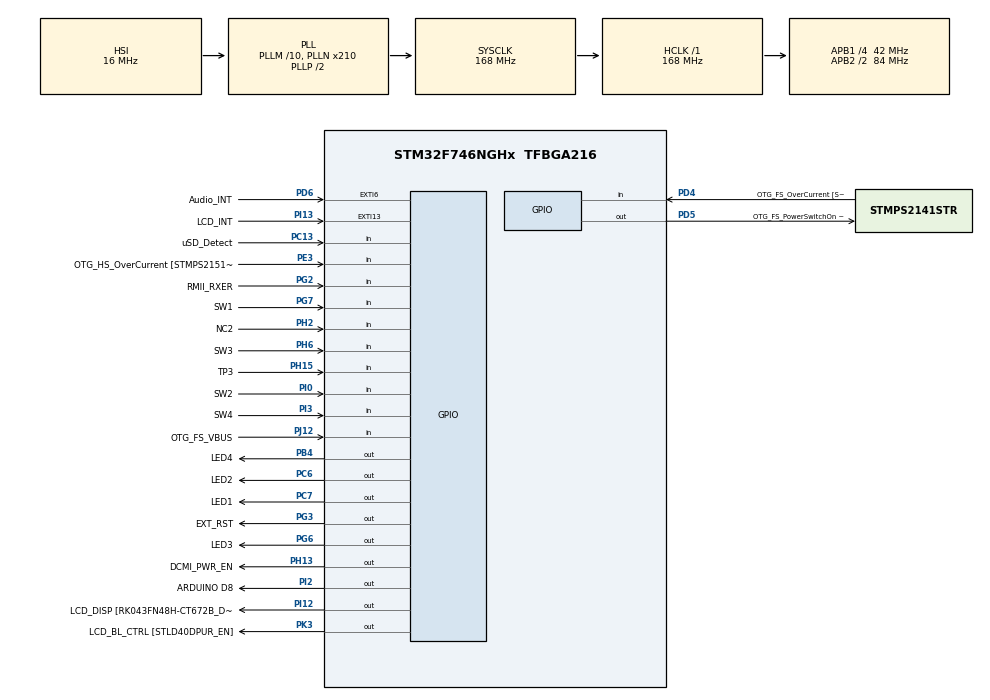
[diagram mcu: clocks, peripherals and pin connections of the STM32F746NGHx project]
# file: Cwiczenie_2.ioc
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Mcu.Family=STM32F7
Mcu.Name=STM32F746NGHx
Mcu.Package=TFBGA216
NVIC.PriorityGroup=NVIC_PRIORITYGROUP_4
PA0/WKUP.GPIO_Label=ARDUINO A0
PA0/WKUP.GPIO_Mode=GPIO_MODE_ANALOG
PA0/WKUP.GPIO_PuPd=GPIO_NOPULL
PA0/WKUP.Signal=ADCx_IN0
PA1.GPIO_Label=RMII_REF_CLK [LAN8742A-CZ-TR_REFCLK0]
PA1.Signal=ETH_REF_CLK
PA10.GPIO_Label=OTG_FS_ID
PA10.Signal=USB_OTG_FS_ID
PA11.GPIO_Label=OTG_FS_N
PA11.Signal=USB_OTG_FS_DM
PA12.GPIO_Label=OTG_FS_P
PA12.Signal=USB_OTG_FS_DP
PA13.GPIO_Label=SWDIO
PA13.Signal=SYS_JTMS-SWDIO
PA14.GPIO_Label=SWCLK
PA14.Signal=SYS_JTCK-SWCLK
PA15.GPIO_Label=ARDUINO PWM/D9
PA15.GPIO_ModeDefaultPP=GPIO_MODE_AF_PP
PA15.GPIO_PuPd=GPIO_NOPULL
PA15.GPIO_Speed=GPIO_SPEED_FREQ_LOW
PA15.Signal=S_TIM2_CH1_ETR
PA2.GPIO_Label=RMII_MDIO [LAN8742A-CZ-TR_MDIO]
PA2.Signal=ETH_MDIO
PA3.GPIO_Label=ULPI_D0 [USB3320C-EZK_D0]
PA3.Signal=USB_OTG_HS_ULPI_D0
PA4.GPIO_Label=DCMI_HSYNC
PA4.Signal=DCMI_HSYNC
PA5.GPIO_Label=ULPI_CLK [USB3320C-EZK_CLKOUT]
PA5.Signal=USB_OTG_HS_ULPI_CK
PA6.Signal=DCMI_PIXCLK
PA7.GPIO_Label=RMII_CRS_DV [LAN8742A-CZ-TR_CRS_DV]
PA7.Signal=ETH_CRS_DV
PA9.GPIO_Label=VCP_TX [STM32F103CBT6_PA3]
PA9.GPIO_Mode=GPIO_MODE_AF_PP
PA9.GPIO_PuPd=GPIO_NOPULL
PA9.GPIO_Speed=GPIO_SPEED_FREQ_LOW
PA9.Signal=USART1_TX
PB0.GPIO_Label=ULPI_D1 [USB3320C-EZK_D1]
PB0.Signal=USB_OTG_HS_ULPI_D1
PB1.GPIO_Label=ULPI_D2 [USB3320C-EZK_D2]
PB1.Signal=USB_OTG_HS_ULPI_D2
PB10.GPIO_Label=ULPI_D3 [USB3320C-EZK_D3]
PB10.Signal=USB_OTG_HS_ULPI_D3
PB11.GPIO_Label=ULPI_D4 [USB3320C-EZK_D4]
PB11.Signal=USB_OTG_HS_ULPI_D4
PB12.GPIO_Label=ULPI_D5 [USB3320C-EZK_D5]
PB12.Signal=USB_OTG_HS_ULPI_D5
PB13.GPIO_Label=ULPI_D6 [USB3320C-EZK_D6]
PB13.Signal=USB_OTG_HS_ULPI_D6
PB14.GPIO_Label=ARDUINO MISO/D12
PB14.GPIO_Mode=GPIO_MODE_AF_PP
PB14.GPIO_PuPd=GPIO_NOPULL
PB14.GPIO_Speed=GPIO_SPEED_FREQ_LOW
PB14.Signal=SPI2_MISO
PB15.GPIO_Label=ARDUINO MOSI/PWM/D11
PB15.GPIO_Mode=GPIO_MODE_AF_PP
PB15.GPIO_PuPd=GPIO_NOPULL
PB15.GPIO_Speed=GPIO_SPEED_FREQ_LOW
PB15.Signal=SPI2_MOSI
PB2.Signal=QUADSPI_CLK
PB3.GPIO_Label=SWO
PB3.Signal=SYS_JTDO-SWO
PB4.GPIO_Label=LED4
PB4.Signal=GPIO_Output
PB5.GPIO_Label=ULPI_D7 [USB3320C-EZK_D7]
PB5.Signal=USB_OTG_HS_ULPI_D7
PB6.GPIO_Label=QSPI_NCS [N25Q128A13EF840E_S]
PB6.Signal=QUADSPI_BK1_NCS
PB7.GPIO_Label=VCP_RX [STM32F103CBT6_PA2]
PB7.GPIO_Mode=GPIO_MODE_AF_PP
PB7.GPIO_PuPd=GPIO_NOPULL
PB7.GPIO_Speed=GPIO_SPEED_FREQ_LOW
PB7.Signal=USART1_RX
PB8.GPIO_Label=ARDUINO SCL/D15
PB8.GPIO_Mode=GPIO_MODE_AF_OD
PB8.GPIO_PuPd=GPIO_NOPULL
PB8.GPIO_Speed=GPIO_SPEED_FREQ_LOW
PB8.Signal=I2C1_SCL
PB9.GPIO_Label=ARDUINO SDA/D14
PB9.GPIO_Mode=GPIO_MODE_AF_OD
PB9.GPIO_PuPd=GPIO_NOPULL
PB9.GPIO_Speed=GPIO_SPEED_FREQ_LOW
PB9.Signal=I2C1_SDA
PC0.GPIO_Label=ULPI_STP [USB3320C-EZK_STP]
PC0.Signal=USB_OTG_HS_ULPI_STP
PC1.GPIO_Label=RMII_MDC [LAN8742A-CZ-TR_MDC]
PC1.Signal=ETH_MDC
PC10.GPIO_Label=SDMMC_D2
PC10.Signal=SDMMC1_D2
PC11.GPIO_Label=SDMMC_D3
PC11.Signal=SDMMC1_D3
PC12.GPIO_Label=SDMMC_CK
PC12.Signal=SDMMC1_CK
PC13.GPIO_Label=uSD_Detect
PC13.Signal=GPIO_Input
PC14/OSC32_IN.GPIO_Label=RCC_OSC32_IN
PC14/OSC32_IN.Signal=RCC_OSC32_IN
PC15/OSC32_OUT.GPIO_Label=RCC_OSC32_OUT
PC15/OSC32_OUT.Signal=RCC_OSC32_OUT
PC2.GPIO_Label=ULPI_DIR [USB3320C-EZK_DIR]
PC2.Signal=USB_OTG_HS_ULPI_DIR
PC3.GPIO_Label=FMC_SDCKE0 [MT48LC4M32B2B5-6A_CKE]
PC3.Signal=FMC_SDCKE0
PC4.GPIO_Label=RMII_RXD0 [LAN8742A-CZ-TR_RXD0]
PC4.Signal=ETH_RXD0
PC5.GPIO_Label=RMII_RXD1 [LAN8742A-CZ-TR_RXD1]
PC5.Signal=ETH_RXD1
PC6.GPIO_Label=LED2
PC6.Signal=GPIO_Output
PC7.GPIO_Label=LED1
PC7.Signal=GPIO_Output
PC8.Signal=SDMMC1_D0
PC9.Signal=SDMMC1_D1
PD0.GPIO_Label=FMC_D2 [MT48LC4M32B2B5-6A_DQ2]
PD0.Signal=FMC_D2_DA2
PD1.GPIO_Label=FMC_D3 [MT48LC4M32B2B5-6A_DQ3]
PD1.Signal=FMC_D3_DA3
PD10.GPIO_Label=FMC_D15 [MT48LC4M32B2B5-6A_DQ15]
PD10.Signal=FMC_D15_DA15
PD11.GPIO_Label=QSPI_D0 [N25Q128A13EF840E_DQ0]
PD11.Signal=QUADSPI_BK1_IO0
PD12.GPIO_Label=QSPI_D1 [N25Q128A13EF840E_DQ1]
PD12.Signal=QUADSPI_BK1_IO1
PD13.GPIO_Label=QSPI_D3 [N25Q128A13EF840E_DQ3]
PD13.Signal=QUADSPI_BK1_IO3
PD14.GPIO_Label=FMC_D0 [MT48LC4M32B2B5-6A_DQ0]
PD14.Signal=FMC_D0_DA0
PD15.GPIO_Label=FMC_D1 [MT48LC4M32B2B5-6A_DQ1]
PD15.Signal=FMC_D1_DA1
PD2.GPIO_Label=SDMMC_D0
PD2.Signal=SDMMC1_CMD
PD3.GPIO_Label=DCMI_D5
PD3.Signal=DCMI_D5
PD4.GPIO_Label=OTG_FS_OverCurrent [STMPS2141STR_Fault]
PD4.Signal=GPIO_Input
PD5.GPIO_Label=OTG_FS_PowerSwitchOn [STMPS2141STR_EN]
PD5.PinState=GPIO_PIN_SET
PD5.Signal=GPIO_Output
PD6.GPIO_Label=Audio_INT
PD6.GPIO_ModeDefaultEXTI=GPIO_MODE_EVT_RISING
PD6.Signal=GPXTI6
PD7.GPIO_Label=SPDIF_RX0 [74LVC1G04SE_4]
PD7.Signal=SPDIFRX_IN0
PD8.GPIO_Label=FMC_D13 [MT48LC4M32B2B5-6A_DQ13]
PD8.Signal=FMC_D13_DA13
PD9.GPIO_Label=FMC_D14 [MT48LC4M32B2B5-6A_DQ14]
PD9.Signal=FMC_D14_DA14
PE0.GPIO_Label=FMC_NBL0 [MT48LC4M32B2B5-6A_DQM0]
PE0.Signal=FMC_NBL0
PE1.GPIO_Label=FMC_NBL1 [MT48LC4M32B2B5-6A_DQM1]
PE1.Signal=FMC_NBL1
PE10.GPIO_Label=FMC_D7 [MT48LC4M32B2B5-6A_DQ7]
PE10.Signal=FMC_D7_DA7
PE11.GPIO_Label=FMC_D8 [MT48LC4M32B2B5-6A_DQ8]
PE11.Signal=FMC_D8_DA8
PE12.GPIO_Label=FMC_D9 [MT48LC4M32B2B5-6A_DQ9]
PE12.Signal=FMC_D9_DA9
PE13.GPIO_Label=FMC_D10 [MT48LC4M32B2B5-6A_DQ10]
PE13.Signal=FMC_D10_DA10
PE14.GPIO_Label=FMC_D11 [MT48LC4M32B2B5-6A_DQ11]
PE14.Signal=FMC_D11_DA11
PE15.GPIO_Label=FMC_D12 [MT48LC4M32B2B5-6A_DQ12]
PE15.Signal=FMC_D12_DA12
PE2.GPIO_Label=QSPI_D2 [N25Q128A13EF840E_DQ2]
PE2.Signal=QUADSPI_BK1_IO2
PE3.GPIO_Label=OTG_HS_OverCurrent [STMPS2151STR_FAULT]
PE3.Signal=GPIO_Input
PE4.GPIO_Label=LCD_B0 [RK043FN48H-CT672B_B0]
PE4.Signal=LTDC_B0
PE5.GPIO_Label=DCMI_D6
PE5.Signal=DCMI_D6
PE6.GPIO_Label=DCMI_D7
PE6.Signal=DCMI_D7
PE7.GPIO_Label=FMC_D4 [MT48LC4M32B2B5-6A_DQ4]
PE7.Signal=FMC_D4_DA4
PE8.GPIO_Label=FMC_D5 [MT48LC4M32B2B5-6A_DQ5]
PE8.Signal=FMC_D5_DA5
PE9.GPIO_Label=FMC_D6 [MT48LC4M32B2B5-6A_DQ6]
PE9.Signal=FMC_D6_DA6
PF0.GPIO_Label=FMC_A0 [MT48LC4M32B2B5-6A_A0]
PF0.Signal=FMC_A0
PF1.GPIO_Label=FMC_A1 [MT48LC4M32B2B5-6A_A1]
PF1.Signal=FMC_A1
PF10.GPIO_Label=ARDUINO A1
PF10.GPIO_Mode=GPIO_MODE_ANALOG
PF10.GPIO_PuPd=GPIO_NOPULL
PF10.Signal=ADC3_IN8
PF11.GPIO_Label=FMC_SDNRAS [MT48LC4M32B2B5-6A_RAS]
PF11.Signal=FMC_SDNRAS
PF12.GPIO_Label=FMC_A6 [MT48LC4M32B2B5-6A_A6]
PF12.Signal=FMC_A6
PF13.GPIO_Label=FMC_A7 [MT48LC4M32B2B5-6A_A7]
PF13.Signal=FMC_A7
PF14.GPIO_Label=FMC_A8 [MT48LC4M32B2B5-6A_A8]
PF14.Signal=FMC_A8
PF15.GPIO_Label=FMC_A9 [MT48LC4M32B2B5-6A_A9]
PF15.Signal=FMC_A9
PF2.GPIO_Label=FMC_A2 [MT48LC4M32B2B5-6A_A2]
PF2.Signal=FMC_A2
PF3.GPIO_Label=FMC_A3 [MT48LC4M32B2B5-6A_A3]
PF3.Signal=FMC_A3
PF4.GPIO_Label=FMC_A4 [MT48LC4M32B2B5-6A_A4]
PF4.Signal=FMC_A4
PF5.GPIO_Label=FMC_A5 [MT48LC4M32B2B5-6A_A5]
PF5.Signal=FMC_A5
PF6.GPIO_Label=ARDUINO A5
PF6.GPIO_Mode=GPIO_MODE_ANALOG
PF6.GPIO_PuPd=GPIO_NOPULL
PF6.Signal=ADC3_IN4
PF7.GPIO_Label=ARDUINO A4
PF7.GPIO_Mode=GPIO_MODE_ANALOG
PF7.GPIO_PuPd=GPIO_NOPULL
PF7.Signal=ADC3_IN5
PF8.GPIO_Label=ARDUINO A3
PF8.GPIO_Mode=GPIO_MODE_ANALOG
PF8.GPIO_PuPd=GPIO_NOPULL
PF8.Signal=ADC3_IN6
PF9.GPIO_Label=ARDUINO A2
PF9.GPIO_Mode=GPIO_MODE_ANALOG
PF9.GPIO_PuPd=GPIO_NOPULL
PF9.Signal=ADC3_IN7
PG0.GPIO_Label=FMC_A10 [MT48LC4M32B2B5-6A_A10]
PG0.Signal=FMC_A10
PG1.GPIO_Label=FMC_A11 [MT48LC4M32B2B5-6A_A11]
PG1.Signal=FMC_A11
PG10.GPIO_Label=SAI2_SDB [WM8994ECS/R_ADCDAT1]
PG10.Signal=SAI2_SD_B
PG11.GPIO_Label=RMII_TX_EN [LAN8742A-CZ-TR_TXEN]
PG11.Signal=ETH_TX_EN
PG12.GPIO_Label=LCD_B4 [RK043FN48H-CT672B_B4]
PG12.Signal=LTDC_B4
PG13.GPIO_Label=RMII_TXD0 [LAN8742A-CZ-TR_TXD0]
PG13.Signal=ETH_TXD0
PG14.GPIO_Label=RMII_TXD1 [LAN8742A-CZ-TR_TXD1]
PG14.Signal=ETH_TXD1
PG15.GPIO_Label=FMC_SDNCAS [MT48LC4M32B2B5-6A_CAS]
PG15.Signal=FMC_SDNCAS
PG2.GPIO_Label=RMII_RXER
PG2.Signal=GPIO_Input
PG3.GPIO_Label=EXT_RST
PG3.Signal=GPIO_Output
PG4.GPIO_Label=FMC_BA0 [MT48LC4M32B2B5-6A_BA0]
PG4.Signal=FMC_A14_BA0
PG5.GPIO_Label=FMC_BA1 [MT48LC4M32B2B5-6A_BA1]
PG5.Signal=FMC_A15_BA1
PG6.GPIO_Label=LED3
PG6.Signal=GPIO_Output
PG7.GPIO_Label=SW1
PG7.GPIO_Mode=GPIO_MODE_INPUT
PG7.GPIO_PuPd=GPIO_PULLUP
PG7.Signal=GPIO_Input
PG8.GPIO_Label=FMC_SDCLK [MT48LC4M32B2B5-6A_CLK]
PG8.Signal=FMC_SDCLK
PG9.GPIO_Label=DCMI_VSYNC
PG9.Signal=DCMI_VSYNC
PH0/OSC_IN.GPIO_Label=OSC_25M [NZ2520SB-25.00M_OUT]
PH0/OSC_IN.Signal=RCC_OSC_IN
PH1/OSC_OUT.Signal=RCC_OSC_OUT
PH10.GPIO_Label=DCMI_D1
PH10.Signal=DCMI_D1
PH11.GPIO_Label=DCMI_D2
PH11.Signal=DCMI_D2
PH12.GPIO_Label=DCMI_D3
PH12.Signal=DCMI_D3
PH13.GPIO_Label=DCMI_PWR_EN
PH13.Signal=GPIO_Output
PH14.GPIO_Label=DCMI_D4
PH14.Signal=DCMI_D4
PH15.GPIO_Label=TP3
PH15.Signal=GPIO_Input
PH2.GPIO_Label=NC2
PH2.Signal=GPIO_Input
PH3.GPIO_Label=FMC_SDNE0 [MT48LC4M32B2B5-6A_CS]
PH3.Signal=FMC_SDNE0
PH4.GPIO_Label=ULPI_NXT [USB3320C-EZK_NXT]
PH4.Signal=USB_OTG_HS_ULPI_NXT
PH5.GPIO_Label=FMC_SDNME [MT48LC4M32B2B5-6A_WE]
PH5.Signal=FMC_SDNWE
PH6.GPIO_Label=SW3
PH6.GPIO_Mode=GPIO_MODE_INPUT
PH6.GPIO_PuPd=GPIO_PULLUP
PH6.Signal=GPIO_Input
PH7.GPIO_Label=LCD_SCL [RK043FN48H-CT672B_SCL]
PH7.Signal=I2C3_SCL
PH8.GPIO_Label=LCD_SDA [RK043FN48H-CT672B_SDA]
PH8.Signal=I2C3_SDA
PH9.GPIO_Label=DCMI_D0
PH9.Signal=DCMI_D0
PI0.GPIO_Label=SW2
PI0.GPIO_PuPd=GPIO_PULLUP
PI0.Signal=GPIO_Input
PI1.GPIO_Label=ARDUINO SCK/D13
PI1.GPIO_Mode=GPIO_MODE_AF_PP
PI1.GPIO_PuPd=GPIO_NOPULL
PI1.GPIO_Speed=GPIO_SPEED_FREQ_LOW
PI1.Signal=SPI2_SCK
PI10.GPIO_Label=LCD_HSYNC [RK043FN48H-CT672B_HSYNC]
PI10.Signal=LTDC_HSYNC
PI12.GPIO_Label=LCD_DISP [RK043FN48H-CT672B_DISP] 
PI12.Signal=GPIO_Output
PI13.GPIO_Label=LCD_INT
PI13.GPIO_ModeDefaultEXTI=GPIO_MODE_EVT_RISING
PI13.Signal=GPXTI13
PI14.GPIO_Label=LCD_CLK [RK043FN48H-CT672B_CLK]
PI14.Signal=LTDC_CLK
PI15.GPIO_Label=LCD_R0 [RK043FN48H-CT672B_R0]
PI15.Signal=LTDC_R0
PI2.GPIO_Label=ARDUINO D8
PI2.Signal=GPIO_Output
PI3.GPIO_Label=SW4
PI3.GPIO_Mode=GPIO_MODE_INPUT
PI3.GPIO_PuPd=GPIO_PULLUP
PI3.Signal=GPIO_Input
PI4.GPIO_Label=SAI2_MCLKA [WM8994ECS/R_MCLK1]
PI4.Signal=SAI2_MCLK_A
PI5.GPIO_Label=SAI2_SCKA [WM8994ECS/R_BCLK1]
PI5.Signal=SAI2_SCK_A
PI6.GPIO_Label=SAI2_SDA [WM8994ECS/R_DACDAT1]
PI6.Signal=SAI2_SD_A
PI7.GPIO_Label=SAI2_FSA [WM8994ECS/R_LRCLK1]
PI7.Signal=SAI2_FS_A
PI8.GPIO_Label=NC1 [TP2]
PI8.Signal=RTC_TS
PI9.GPIO_Label=LCD_VSYNC [RK043FN48H-CT672B_VSYNC]
PI9.Signal=LTDC_VSYNC
PJ0.GPIO_Label=LCD_R1 [RK043FN48H-CT672B_R1]
PJ0.Signal=LTDC_R1
PJ1.GPIO_Label=LCD_R2 [RK043FN48H-CT672B_R2]
PJ1.Signal=LTDC_R2
PJ10.GPIO_Label=LCD_G3 [RK043FN48H-CT672B_G3]
PJ10.Signal=LTDC_G3
PJ11.GPIO_Label=LCD_G4 [RK043FN48H-CT672B_G4]
PJ11.Signal=LTDC_G4
PJ12.GPIO_Label=OTG_FS_VBUS
PJ12.Signal=GPIO_Input
PJ13.GPIO_Label=LCD_B1 [RK043FN48H-CT672B_B1]
PJ13.Signal=LTDC_B1
PJ14.GPIO_Label=LCD_B2 [RK043FN48H-CT672B_B2]
PJ14.Signal=LTDC_B2
PJ15.GPIO_Label=LCD_B3 [RK043FN48H-CT672B_B3]
PJ15.Signal=LTDC_B3
PJ2.GPIO_Label=LCD_R3 [RK043FN48H-CT672B_R3]
PJ2.Signal=LTDC_R3
PJ3.GPIO_Label=LCD_R4 [RK043FN48H-CT672B_R4]
PJ3.Signal=LTDC_R4
PJ4.GPIO_Label=LCD_R5 [RK043FN48H-CT672B_R5]
PJ4.Signal=LTDC_R5
PJ5.GPIO_Label=LCD_R6 [RK043FN48H-CT672B_R6]
PJ5.Signal=LTDC_R6
PJ6.GPIO_Label=LCD_R7 [RK043FN48H-CT672B_R7]
PJ6.Signal=LTDC_R7
PJ7.GPIO_Label=LCD_G0 [RK043FN48H-CT672B_G0]
PJ7.Signal=LTDC_G0
PJ8.GPIO_Label=LCD_G1 [RK043FN48H-CT672B_G1]
PJ8.Signal=LTDC_G1
PJ9.GPIO_Label=LCD_G2 [RK043FN48H-CT672B_G2]
PJ9.Signal=LTDC_G2
PK0.GPIO_Label=LCD_G5 [RK043FN48H-CT672B_G5]
PK0.Signal=LTDC_G5
PK1.GPIO_Label=LCD_G6 [RK043FN48H-CT672B_G6]
PK1.Signal=LTDC_G6
PK2.GPIO_Label=LCD_G7 [RK043FN48H-CT672B_G7]
PK2.Signal=LTDC_G7
PK3.GPIO_Label=LCD_BL_CTRL [STLD40DPUR_EN]
PK3.Signal=GPIO_Output
PK4.GPIO_Label=LCD_B5 [RK043FN48H-CT672B_B5]
PK4.Signal=LTDC_B5
PK5.GPIO_Label=LCD_B6 [RK043FN48H-CT672B_B6]
PK5.Signal=LTDC_B6
PK6.GPIO_Label=LCD_B7 [RK043FN48H-CT672B_B7]
PK6.Signal=LTDC_B7
PK7.GPIO_Label=LCD_DE [RK043FN48H-CT672B_DE]
PK7.Signal=LTDC_DE
ProjectManager.HeapSize=0x200
ProjectManager.StackSize=0x400
ProjectManager.TargetToolchain=STM32CubeIDE
RCC.AHBFreq_Value=168000000
RCC.APB1CLKDivider=RCC_HCLK_DIV4
RCC.APB1Freq_Value=42000000
RCC.APB1TimFreq_Value=84000000
RCC.APB2CLKDivider=RCC_HCLK_DIV2
RCC.APB2Freq_Value=84000000
RCC.APB2TimFreq_Value=168000000
RCC.CortexFreq_Value=168000000
RCC.HCLKFreq_Value=168000000
RCC.HSE_VALUE=25000000
RCC.HSI_VALUE=16000000
RCC.LSE_VALUE=32768
RCC.PLLM=10
RCC.PLLN=210
RCC.PLLSourceVirtual=RCC_PLLSOURCE_HSI
RCC.SYSCLKFreq_VALUE=168000000
RCC.SYSCLKSource=RCC_SYSCLKSOURCE_PLLCLK
RCC.USBFreq_Value=168000000
RCC.VCOOutputFreq_Value=336000000
SH.ADCx_IN0.0=ADC3_IN0
SH.FMC_A0.0=FMC_A0
SH.FMC_A1.0=FMC_A1
SH.FMC_A10.0=FMC_A10
SH.FMC_A11.0=FMC_A11
SH.FMC_A14_BA0.0=FMC_BA0
SH.FMC_A15_BA1.0=FMC_BA1
SH.FMC_A2.0=FMC_A2
SH.FMC_A3.0=FMC_A3
SH.FMC_A4.0=FMC_A4
SH.FMC_A5.0=FMC_A5
SH.FMC_A6.0=FMC_A6
SH.FMC_A7.0=FMC_A7
SH.FMC_A8.0=FMC_A8
SH.FMC_A9.0=FMC_A9
SH.FMC_D0_DA0.0=FMC_D0
SH.FMC_D10_DA10.0=FMC_D10
SH.FMC_D11_DA11.0=FMC_D11
SH.FMC_D12_DA12.0=FMC_D12
SH.FMC_D13_DA13.0=FMC_D13
SH.FMC_D14_DA14.0=FMC_D14
SH.FMC_D15_DA15.0=FMC_D15
SH.FMC_D1_DA1.0=FMC_D1
SH.FMC_D2_DA2.0=FMC_D2
SH.FMC_D3_DA3.0=FMC_D3
SH.FMC_D4_DA4.0=FMC_D4
SH.FMC_D5_DA5.0=FMC_D5
SH.FMC_D6_DA6.0=FMC_D6
SH.FMC_D7_DA7.0=FMC_D7
SH.FMC_D8_DA8.0=FMC_D8
SH.FMC_D9_DA9.0=FMC_D9
SH.FMC_NBL0.0=FMC_NBL0
SH.FMC_NBL1.0=FMC_NBL1
SH.FMC_SDCLK.0=FMC_SDCLK
SH.FMC_SDNCAS.0=FMC_SDNCAS
SH.FMC_SDNRAS.0=FMC_SDNRAS
SH.FMC_SDNWE.0=FMC_SDNWE
SH.S_TIM2_CH1_ETR.0=TIM2_CH1
board=STM32F746G-DISCO

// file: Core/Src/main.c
/* USER CODE BEGIN Header */
/**
  ******************************************************************************
  * @file           : main.c
  * @brief          : Main program body
  ******************************************************************************
  * @attention
  *
  * Copyright (c) 2022 STMicroelectronics.
  * All rights reserved.
  *
  * This software is licensed under terms that can be found in the LICENSE file
  * in the root directory of this software component.
  * If no LICENSE file comes with this software, it is provided AS-IS.
  *
  ******************************************************************************
  */
/* USER CODE END Header */
#include "main.h"
#include "gpio.h"

void SystemClock_Config(void);

int main(void)
{

  /* MCU Configuration--------------------------------------------------------*/

  /* Reset of all peripherals, Initializes the Flash interface and the Systick. */
  HAL_Init();

  /* Configure the system clock */
  SystemClock_Config();

  /* Initialize all configured peripherals */
  MX_GPIO_Init();

  /* Infinite loop */
  while (1)
  {

    /* USER CODE BEGIN 3 */
	  if(HAL_GPIO_ReadPin(SW1_GPIO_Port, SW1_Pin))
	  {
		  HAL_GPIO_WritePin(LED1_GPIO_Port, LED1_Pin, GPIO_PIN_RESET);
	  }
	  else
	  {
		  HAL_GPIO_WritePin(LED1_GPIO_Port, LED1_Pin, GPIO_PIN_SET);
	  }
	  if(HAL_GPIO_ReadPin(SW2_GPIO_Port, SW2_Pin))
	  {
		  HAL_GPIO_WritePin(LED2_GPIO_Port, LED2_Pin, GPIO_PIN_RESET);
	  }
	  else
	  {
		  HAL_GPIO_WritePin(LED2_GPIO_Port, LED2_Pin, GPIO_PIN_SET);
	  }
	  if(HAL_GPIO_ReadPin(SW3_GPIO_Port, SW3_Pin))
	  {
		  HAL_GPIO_WritePin(LED3_GPIO_Port, LED3_Pin, GPIO_PIN_RESET);
	  }
	  else
	  {
		  HAL_GPIO_WritePin(LED3_GPIO_Port, LED3_Pin, GPIO_PIN_SET);
	  }
	  if(HAL_GPIO_ReadPin(SW4_GPIO_Port, SW4_Pin))
	  {
		  HAL_GPIO_WritePin(LED4_GPIO_Port, LED4_Pin, GPIO_PIN_RESET);
	  }
	  else
	  {
		  HAL_GPIO_WritePin(LED4_GPIO_Port, LED4_Pin, GPIO_PIN_SET);
	  }

  }
  /* USER CODE END 3 */
}

void SystemClock_Config(void)
{
  RCC_OscInitTypeDef RCC_OscInitStruct = {0};
  RCC_ClkInitTypeDef RCC_ClkInitStruct = {0};

  /** Configure the main internal regulator output voltage
  */
  __HAL_RCC_PWR_CLK_ENABLE();
  __HAL_PWR_VOLTAGESCALING_CONFIG(PWR_REGULATOR_VOLTAGE_SCALE2);

  /** Initializes the RCC Oscillators according to the specified parameters
  * in the RCC_OscInitTypeDef structure.
  */
  RCC_OscInitStruct.OscillatorType = RCC_OSCILLATORTYPE_HSI;
  RCC_OscInitStruct.HSIState = RCC_HSI_ON;
  RCC_OscInitStruct.HSICalibrationValue = RCC_HSICALIBRATION_DEFAULT;
  RCC_OscInitStruct.PLL.PLLState = RCC_PLL_ON;
  RCC_OscInitStruct.PLL.PLLSource = RCC_PLLSOURCE_HSI;
  RCC_OscInitStruct.PLL.PLLM = 10;
  RCC_OscInitStruct.PLL.PLLN = 210;
  RCC_OscInitStruct.PLL.PLLP = RCC_PLLP_DIV2;
  RCC_OscInitStruct.PLL.PLLQ = 2;
  if (HAL_RCC_OscConfig(&RCC_OscInitStruct) != HAL_OK)
  {
    Error_Handler();
  }

  /** Initializes the CPU, AHB and APB buses clocks
  */
  RCC_ClkInitStruct.ClockType = RCC_CLOCKTYPE_HCLK|RCC_CLOCKTYPE_SYSCLK
                              |RCC_CLOCKTYPE_PCLK1|RCC_CLOCKTYPE_PCLK2;
  RCC_ClkInitStruct.SYSCLKSource = RCC_SYSCLKSOURCE_PLLCLK;
  RCC_ClkInitStruct.AHBCLKDivider = RCC_SYSCLK_DIV1;
  RCC_ClkInitStruct.APB1CLKDivider = RCC_HCLK_DIV4;
  RCC_ClkInitStruct.APB2CLKDivider = RCC_HCLK_DIV2;

  if (HAL_RCC_ClockConfig(&RCC_ClkInitStruct, FLASH_LATENCY_5) != HAL_OK)
  {
    Error_Handler();
  }
}

void Error_Handler(void)
{
  __disable_irq();
  while (1)
  {
  }
}
